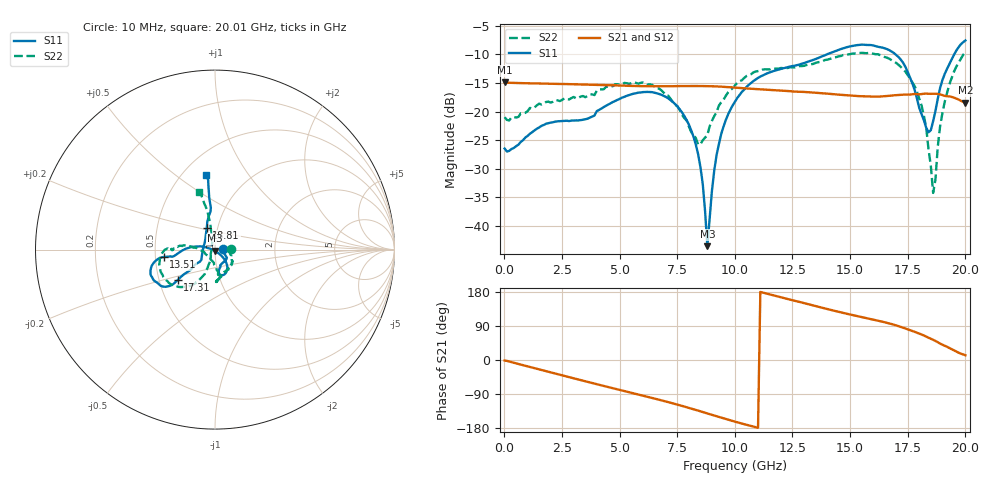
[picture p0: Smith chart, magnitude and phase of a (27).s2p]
! Hittite Microwave Corporation
! 2 Elizabeth Drive
! Chelmsford, MA 01824
! http://www.hittite.com
! Tel: 978-250-3343
! Fax: 978-250-3373
! Device:  HMC424LP3
! Description: 0.5 dB GaAs MMIC 6-Bit Digital Attenuator
! Frequency:  DC -  13.00 GHz
! Package:  LP3  - 3x3 mm Quad Flatpack No-Lead (QFN) Plastic Package: 16 pin
! Ports:  2 RF, 7 DC
!  Pad  1  = Ground
!  Pad  2  = RF IN  = Port 1
!  Pad  3  = Ground
!  Pad  4  = V6
!  Pad  5  = V5
!  Pad  6  = V4
!  Pad  7  = V3
!  Pad  8  = V2
!  Pad  9  = V1
!  Pad 10  = Ground
!  Pad 11  = RF OUT  = Port 2
!  Pad 12  = Ground
!  Pad 15  = VEE
! Control:  -5 Volt control voltage
! State:  25
! Attenuation:  12.5 dB
! Voltages:  Vdd = -5.00 Volts  Idd =  -2.554 mA
!  V1  = -5.00 Volts  I1  =  -1.0 uA
!  V2  = 0.00 Volts  I2  =  29.0 uA
!  V3  = 0.00 Volts  I3  =  29.0 uA
!  V4  = -5.00 Volts  I4  =  -1.0 uA
!  V5  = -5.00 Volts  I5  =  -1.0 uA
!  V6  = 0.00 Volts  I6  =  30.0 uA
! Data:  The device was measured on evaluation board 105354-1.
!  Data was collected using a calibrated network analyzer.
!  The evaluation circuit board was modeled and simulated.  This was use
!  to removed the evaluation board circuit from the measured data.
!  The reference plane is the edge of the package pin.
! Misc:  Lot xxxx, Unit 1
!  Application 20120001, Data collected in Application 20090083
! Date Measured:  2009-09-15
! Date:  2012-05-14  MJV
! Note:
!  Hittite supplies this data as a sample of measured data at the package pin
!  for this product.  Your particular data for this product may vary.
!  Data was taken at 25 degrees C.
!  Hittite reserves the right to change this data at anytime.
# GHz S MA R 50
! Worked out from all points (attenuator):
!   201 points, 10 MHz to 20.01 GHz, reference 50 ohm
!   highest |S21| = -14.88 dB at 10 MHz (marker M1); lowest = -18.4 dB at 20.01 GHz (marker M2)
!   lowest |S11| = -43.5 dB at 8.81 GHz (marker M3), VSWR 1.01, Z = 49.8 - j0.642 ohm
!   |S11| at or under -10 dB: start of sweep to 13.99 GHz; 16.98 GHz to 19.52 GHz (2.545 GHz wide, 13.9 % of centre)
!   |S22| runs from -34.2 to -9.5 dB; largest |S21 - S12| = 0.00056
!   S11 on the Smith chart (normalised r, x): 10 MHz: 1.10, +0.01; 13.51 GHz: 0.55, -0.05; 17.31 GHz: 0.63, -0.23; 18.81 GHz: 0.89, +0.22; 20.01 GHz: 0.65, +0.65
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0.01  0.04758 5.8  0.1802 -1.5  0.1797 -1.5  0.08942 3.8
3.41  0.08494 -58.9  0.173 -54.6  0.1727 -54.6  0.137 -63.5
6.71  0.1428 -64.9  0.1668 -104.7  0.1664 -104.8  0.1593 -84.1
7.61  0.1049 -51.3  0.1672 -119.4  0.1668 -119.4  0.1033 -84.8
8.21  0.06019 -44.6  0.1675 -130.0  0.1673 -130.0  0.06217 -109.5
8.61  0.02338 -48.1  0.1673 -137.3  0.167 -137.3  0.0562 -149.4
8.81  0.006677 -105.3  0.1669 -141.0  0.1667 -141.0  0.06248 -167.7
9.01  0.02048 175.6  0.1666 -144.8  0.1664 -144.8  0.08312 -177.6
9.21  0.04179 167.6  0.1661 -148.4  0.1659 -148.4  0.09858 176.2
10.01  0.1223 172.6  0.1623 -162.7  0.1621 -162.7  0.1698 172.1
11.11  0.2026 -174.9  0.1567 179.6  0.1565 179.5  0.228 178.3
13.41  0.2835 -171.9  0.1468 143.8  0.1465 143.8  0.2614 178.5
13.51  0.2885 -171.8  0.1462 142.2  0.1459 142.3  0.2669 178.7
16.71  0.3446 -143.0  0.1375 96.5  0.1373 96.5  0.2897 -134.1
17.31  0.2669 -140.8  0.1407 85.2  0.1405 85.3  0.2336 -122.7
18.11  0.09484 -143.2  0.1425 67.4  0.1422 67.4  0.1127 -112.0
18.41  0.06603 170.3  0.1434 58.7  0.1433 58.8  0.04679 -120.2
18.61  0.08249 129.8  0.1433 53.4  0.1432 53.4  0.01949 -174.2
18.71  0.1014 119.8  0.1435 50.4  0.1432 50.3  0.02544 133.3
18.81  0.1293 110.6  0.1428 46.8  0.1427 46.8  0.04919 107.2
19.31  0.2588 96.0  0.136 31.8  0.1358 31.9  0.1723 100.7
20.01  0.4188 96.9  0.1197 12.5  0.1196 12.5  0.3338 105.5
